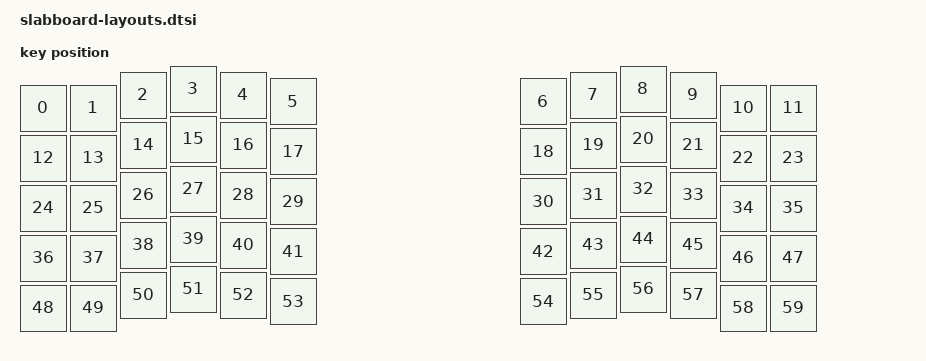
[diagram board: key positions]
#include <physical_layouts.dtsi>

/ {
    physical_layout0: physical_layout_0 {
        compatible = "zmk,physical-layout";
        display-name = "SlabBoard 5x12";
        kscan = <&kscan0>;
        transform = <&matrix_transform0>;

        keys  //                     w   h    x    y     rot    rx    ry
            = <&key_physical_attrs 100 100    0   38       0     0     0>
            , <&key_physical_attrs 100 100  100   38       0     0     0>
            , <&key_physical_attrs 100 100  200   12       0     0     0>
            , <&key_physical_attrs 100 100  300    0       0     0     0>
            , <&key_physical_attrs 100 100  400   12       0     0     0>
            , <&key_physical_attrs 100 100  500   25       0     0     0>
            , <&key_physical_attrs 100 100 1000   25       0     0     0>
            , <&key_physical_attrs 100 100 1100   12       0     0     0>
            , <&key_physical_attrs 100 100 1200    0       0     0     0>
            , <&key_physical_attrs 100 100 1300   12       0     0     0>
            , <&key_physical_attrs 100 100 1400   38       0     0     0>
            , <&key_physical_attrs 100 100 1500   38       0     0     0>
            , <&key_physical_attrs 100 100    0  138       0     0     0>
            , <&key_physical_attrs 100 100  100  138       0     0     0>
            , <&key_physical_attrs 100 100  200  112       0     0     0>
            , <&key_physical_attrs 100 100  300  100       0     0     0>
            , <&key_physical_attrs 100 100  400  112       0     0     0>
            , <&key_physical_attrs 100 100  500  125       0     0     0>
            , <&key_physical_attrs 100 100 1000  125       0     0     0>
            , <&key_physical_attrs 100 100 1100  112       0     0     0>
            , <&key_physical_attrs 100 100 1200  100       0     0     0>
            , <&key_physical_attrs 100 100 1300  112       0     0     0>
            , <&key_physical_attrs 100 100 1400  138       0     0     0>
            , <&key_physical_attrs 100 100 1500  138       0     0     0>
            , <&key_physical_attrs 100 100    0  238       0     0     0>
            , <&key_physical_attrs 100 100  100  238       0     0     0>
            , <&key_physical_attrs 100 100  200  212       0     0     0>
            , <&key_physical_attrs 100 100  300  200       0     0     0>
            , <&key_physical_attrs 100 100  400  212       0     0     0>
            , <&key_physical_attrs 100 100  500  225       0     0     0>
            , <&key_physical_attrs 100 100 1000  225       0     0     0>
            , <&key_physical_attrs 100 100 1100  212       0     0     0>
            , <&key_physical_attrs 100 100 1200  200       0     0     0>
            , <&key_physical_attrs 100 100 1300  212       0     0     0>
            , <&key_physical_attrs 100 100 1400  238       0     0     0>
            , <&key_physical_attrs 100 100 1500  238       0     0     0>
            , <&key_physical_attrs 100 100    0  338       0     0     0>
            , <&key_physical_attrs 100 100  100  338       0     0     0>
            , <&key_physical_attrs 100 100  200  312       0     0     0>
            , <&key_physical_attrs 100 100  300  300       0     0     0>
            , <&key_physical_attrs 100 100  400  312       0     0     0>
            , <&key_physical_attrs 100 100  500  325       0     0     0>
            , <&key_physical_attrs 100 100 1000  325       0     0     0>
            , <&key_physical_attrs 100 100 1100  312       0     0     0>
            , <&key_physical_attrs 100 100 1200  300       0     0     0>
            , <&key_physical_attrs 100 100 1300  312       0     0     0>
            , <&key_physical_attrs 100 100 1400  338       0     0     0>
            , <&key_physical_attrs 100 100 1500  338       0     0     0>
            , <&key_physical_attrs 100 100    0  438       0     0     0>
            , <&key_physical_attrs 100 100  100  438       0     0     0>
            , <&key_physical_attrs 100 100  200  412       0     0     0>
            , <&key_physical_attrs 100 100  300  400       0     0     0>
            , <&key_physical_attrs 100 100  400  412       0     0     0>
            , <&key_physical_attrs 100 100  500  425       0     0     0>
            , <&key_physical_attrs 100 100 1000  425       0     0     0>
            , <&key_physical_attrs 100 100 1100  412       0     0     0>
            , <&key_physical_attrs 100 100 1200  400       0     0     0>
            , <&key_physical_attrs 100 100 1300  412       0     0     0>
            , <&key_physical_attrs 100 100 1400  438       0     0     0>
            , <&key_physical_attrs 100 100 1500  438       0     0     0>
            ;
    };
};
